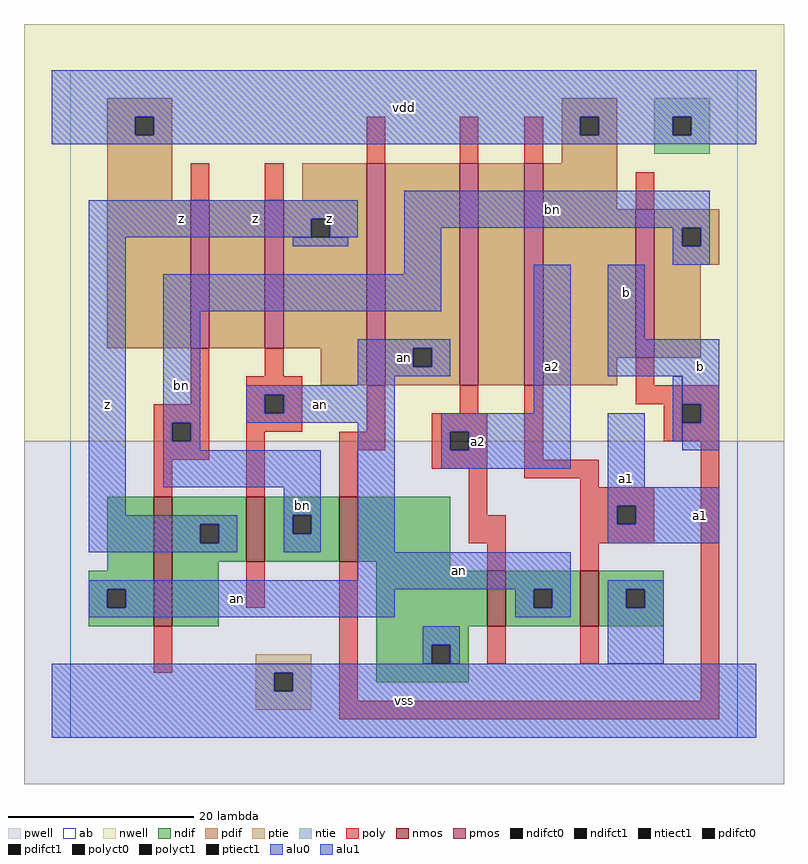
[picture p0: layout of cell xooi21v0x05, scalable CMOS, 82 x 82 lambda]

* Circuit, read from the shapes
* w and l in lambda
.subckt xooi21v0x05 a1 a2 an b bn vdd vss z
M1 z bn an vss nfet w=14 l=2
M2 bn an z vss nfet w=7 l=2
M3 vss b bn vss nfet w=7 l=2
M4 an a2 vss vss nfet w=6 l=2
M5 vss a1 an vss nfet w=6 l=2
M6 n1 bn vdd vdd pfet w=16 l=2
M7 z an n1 vdd pfet w=16 l=2
M8 an b z vdd pfet w=24 l=2
M9 n2 a2 an vdd pfet w=24 l=2
M10 vdd a1 n2 vdd pfet w=24 l=2
M11 bn b vdd vdd pfet w=16 l=2
.ends

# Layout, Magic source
magic
tech scmos
<< ab >>
rect 0 0 72 72
<< nwell >>
rect -5 32 77 77
<< pwell >>
rect -5 -5 77 32
<< poly >>
rect 32 62 34 67
rect 42 62 44 67
rect 49 62 51 67
rect 13 58 15 62
rect 21 58 23 62
rect 13 36 15 42
rect 21 39 23 42
rect 9 34 15 36
rect 9 32 11 34
rect 13 32 15 34
rect 9 30 15 32
rect 19 37 25 39
rect 61 57 63 61
rect 61 38 63 41
rect 19 35 21 37
rect 23 35 25 37
rect 19 33 25 35
rect 32 33 34 38
rect 42 35 44 38
rect 9 26 11 30
rect 19 26 21 33
rect 29 31 34 33
rect 39 33 45 35
rect 39 31 41 33
rect 43 31 45 33
rect 29 26 31 31
rect 39 29 45 31
rect 43 24 45 29
rect 49 30 51 38
rect 61 36 70 38
rect 64 34 66 36
rect 68 34 70 36
rect 64 32 70 34
rect 49 28 57 30
rect 55 27 57 28
rect 55 25 63 27
rect 43 21 47 24
rect 19 14 21 19
rect 9 7 11 12
rect 29 4 31 19
rect 45 18 47 21
rect 55 23 59 25
rect 61 23 63 25
rect 55 21 63 23
rect 55 18 57 21
rect 45 8 47 12
rect 55 8 57 12
rect 68 4 70 32
rect 29 2 70 4
<< ndif >>
rect 4 18 9 26
rect 2 16 9 18
rect 2 14 4 16
rect 6 14 9 16
rect 2 12 9 14
rect 11 23 19 26
rect 11 21 14 23
rect 16 21 19 23
rect 11 19 19 21
rect 21 24 29 26
rect 21 22 24 24
rect 26 22 29 24
rect 21 19 29 22
rect 31 19 41 26
rect 11 12 16 19
rect 33 18 41 19
rect 33 12 45 18
rect 47 16 55 18
rect 47 14 50 16
rect 52 14 55 16
rect 47 12 55 14
rect 57 16 64 18
rect 57 14 60 16
rect 62 14 64 16
rect 57 12 64 14
rect 33 10 43 12
rect 33 8 39 10
rect 41 8 43 10
rect 33 6 43 8
<< pdif >>
rect 4 67 11 69
rect 53 67 59 69
rect 4 65 7 67
rect 9 65 11 67
rect 4 58 11 65
rect 53 65 55 67
rect 57 65 59 67
rect 53 62 59 65
rect 25 58 32 62
rect 4 42 13 58
rect 15 42 21 58
rect 23 56 32 58
rect 23 54 26 56
rect 28 54 32 56
rect 23 42 32 54
rect 27 38 32 42
rect 34 42 42 62
rect 34 40 37 42
rect 39 40 42 42
rect 34 38 42 40
rect 44 38 49 62
rect 51 57 59 62
rect 51 41 61 57
rect 63 55 70 57
rect 63 53 66 55
rect 68 53 70 55
rect 63 51 70 53
rect 63 41 68 51
rect 51 38 59 41
<< alu1 >>
rect -2 67 74 72
rect -2 65 7 67
rect 9 65 55 67
rect 57 65 65 67
rect 67 65 74 67
rect -2 64 74 65
rect 2 56 31 58
rect 2 54 26 56
rect 28 54 31 56
rect 2 24 6 54
rect 50 35 54 51
rect 58 43 62 51
rect 58 39 70 43
rect 2 23 18 24
rect 2 21 14 23
rect 16 21 18 23
rect 2 20 18 21
rect 40 33 54 35
rect 40 31 41 33
rect 43 31 54 33
rect 40 29 54 31
rect 58 27 62 35
rect 66 36 70 39
rect 68 34 70 36
rect 66 31 70 34
rect 58 25 70 27
rect 58 23 59 25
rect 61 23 70 25
rect 58 21 70 23
rect -2 7 74 8
rect -2 5 22 7
rect 24 5 74 7
rect -2 0 74 5
<< ptie >>
rect 20 7 26 9
rect 20 5 22 7
rect 24 5 26 7
rect 20 3 26 5
<< ntie >>
rect 63 67 69 69
rect 63 65 65 67
rect 67 65 69 67
rect 63 63 69 65
<< nmos >>
rect 9 12 11 26
rect 19 19 21 26
rect 29 19 31 26
rect 45 12 47 18
rect 55 12 57 18
<< pmos >>
rect 13 42 15 58
rect 21 42 23 58
rect 32 38 34 62
rect 42 38 44 62
rect 49 38 51 62
rect 61 41 63 57
<< polyct0 >>
rect 11 32 13 34
rect 21 35 23 37
<< polyct1 >>
rect 41 31 43 33
rect 66 34 68 36
rect 59 23 61 25
<< ndifct0 >>
rect 4 14 6 16
rect 24 22 26 24
rect 50 14 52 16
rect 60 14 62 16
rect 39 8 41 10
<< ndifct1 >>
rect 14 21 16 23
<< ntiect1 >>
rect 65 65 67 67
<< ptiect1 >>
rect 22 5 24 7
<< pdifct0 >>
rect 37 40 39 42
rect 66 53 68 55
<< pdifct1 >>
rect 7 65 9 67
rect 55 65 57 67
rect 26 54 28 56
<< alu0 >>
rect 36 55 69 59
rect 24 53 30 54
rect 36 50 40 55
rect 65 53 66 55
rect 68 53 69 55
rect 65 51 69 53
rect 10 46 40 50
rect 10 34 14 46
rect 31 42 41 43
rect 31 40 37 42
rect 39 40 41 42
rect 31 39 41 40
rect 31 38 35 39
rect 19 37 35 38
rect 19 35 21 37
rect 23 35 35 37
rect 19 34 35 35
rect 10 32 11 34
rect 13 32 14 34
rect 10 31 14 32
rect 10 27 27 31
rect 23 24 27 27
rect 23 22 24 24
rect 26 22 27 24
rect 23 20 27 22
rect 31 20 35 34
rect 65 32 66 39
rect 31 17 54 20
rect 2 16 54 17
rect 2 14 4 16
rect 6 14 35 16
rect 2 13 35 14
rect 48 14 50 16
rect 52 14 54 16
rect 48 13 54 14
rect 58 16 64 17
rect 58 14 60 16
rect 62 14 64 16
rect 38 10 42 12
rect 38 8 39 10
rect 41 8 42 10
rect 58 8 64 14
<< labels >>
rlabel alu0 12 38 12 38 6 bn
rlabel alu0 25 25 25 25 6 bn
rlabel alu0 18 15 18 15 6 an
rlabel alu0 27 36 27 36 6 an
rlabel alu0 36 41 36 41 6 an
rlabel alu0 42 18 42 18 6 an
rlabel alu0 52 57 52 57 6 bn
rlabel alu1 4 36 4 36 6 z
rlabel alu1 12 56 12 56 6 z
rlabel alu1 28 56 28 56 6 z
rlabel alu1 20 56 20 56 6 z
rlabel alu1 36 4 36 4 6 vss
rlabel alu1 44 32 44 32 6 a2
rlabel alu1 52 40 52 40 6 a2
rlabel alu1 36 68 36 68 6 vdd
rlabel alu1 60 28 60 28 6 a1
rlabel alu1 68 24 68 24 6 a1
rlabel alu1 68 40 68 40 6 b
rlabel alu1 60 48 60 48 6 b
<< end >>
